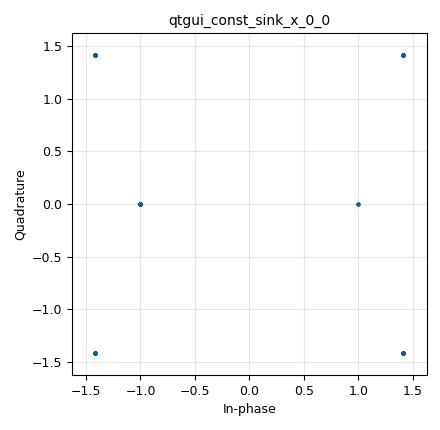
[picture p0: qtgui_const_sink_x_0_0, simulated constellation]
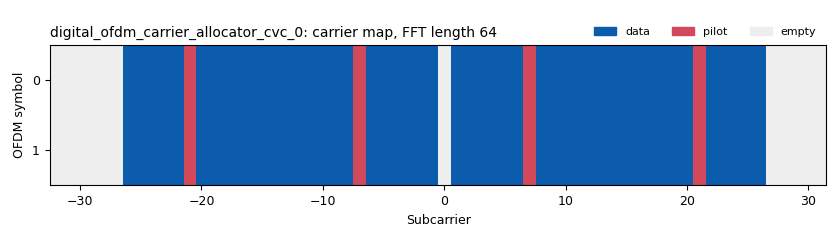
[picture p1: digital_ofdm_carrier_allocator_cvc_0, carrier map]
options:
  parameters:
    author: tianz
    generate_options: qt_gui
    id: myconfig
    output_language: python
    title: myconfig
  states: {}

blocks:
- name: centre_fre
  id: variable
  parameters:
    value: '920000000'
  states: {}
- name: fft_len
  id: variable
  parameters:
    value: '64'
  states: {}
- name: gain
  id: variable
  parameters:
    value: '50'
  states: {}
- name: hdr_format
  id: variable
  parameters:
    value: digital.header_format_ofdm(occupied_carriers, 1, length_tag_key,)
  states: {}
- name: header_equalizer
  id: variable
  parameters:
    value: digital.ofdm_equalizer_simpledfe(fft_len, header_mod.base(), occupied_carriers, pilot_carriers, pilot_symbols)
  states: {}
- name: header_formatter
  id: variable
  parameters:
    value: digital.packet_header_ofdm(occupied_carriers, n_syms=1, len_tag_key=packet_length_tag_key, frame_len_tag_key=length_tag_key1, bits_per_header_sym=header_mod.bits_per_symbol(), bits_per_payload_sym=payload_mod.bits_per_symbol(), scramble_header=False)
  states: {}
- name: header_mod
  id: variable
  parameters:
    value: digital.constellation_bpsk()
  states: {}
- name: length_tag_key
  id: variable
  parameters:
    value: '"packet_len"'
  states: {}
- name: length_tag_key1
  id: variable
  parameters:
    value: '"frame_len"'
  states: {}
- name: occupied_carriers
  id: variable
  parameters:
    value: (list(range(-26, -21)) + list(range(-20, -7)) + list(range(-6, 0)) + list(range(1, 7)) + list(range(8, 21)) + list(range(22, 27)),)
  states: {}
- name: packet_len
  id: variable
  parameters:
    value: '96'
  states: {}
- name: packet_length_tag_key
  id: variable
  parameters:
    value: '"packet_len"'
  states: {}
- name: payload_equalizer
  id: variable
  parameters:
    value: digital.ofdm_equalizer_simpledfe(fft_len, payload_mod.base(), occupied_carriers, pilot_carriers, pilot_symbols, 1)
  states: {}
- name: payload_mod
  id: variable
  parameters:
    value: digital.constellation_qpsk()
  states: {}
- name: pilot_carriers
  id: variable
  parameters:
    value: ((-21, -7, 7, 21,),)
  states: {}
- name: pilot_symbols
  id: variable
  parameters:
    value: ((1, 1, 1, -1,),)
  states: {}
- name: rolloff
  id: variable
  parameters:
    value: '0'
  states: {}
- name: samp_rate
  id: variable
  parameters:
    value: '1000000'
  states: {}
- name: sync_word1
  id: variable
  parameters:
    value: '[0., 0., 0., 0., 0., 0., 0., 1.41421356, 0., -1.41421356, 0., 1.41421356, 0., -1.41421356, 0., -1.41421356, 0., -1.41421356, 0., 1.41421356, 0., -1.41421356, 0., 1.41421356, 0., -1.41421356, 0., -1.41421356, 0., -1.41421356, 0., -1.41421356, 0., 1.41421356, 0., -1.41421356, 0., 1.41421356, 0., 1.41421356, 0., 1.41421356, 0., -1.41421356, 0., 1.41421356, 0., 1.41421356, 0., 1.41421356, 0., -1.41421356, 0., 1.41421356, 0., 1.41421356, 0., 1.41421356, 0., 0., 0., 0., 0., 0.]'
  states: {}
- name: sync_word2
  id: variable
  parameters:
    value: '[0, 0, 0, 0, 0, 0, -1, -1, -1, -1, 1, 1, -1, -1, -1, 1, -1, 1, 1, 1, 1, 1, -1, -1, -1, -1, -1, 1, -1, -1, 1, -1, 0, 1, -1, 1, 1, 1, -1, 1, 1, 1, -1, 1, 1, 1, 1, -1, 1, -1, -1, -1, 1, -1, 1, -1, -1, -1, -1, 0, 0, 0, 0, 0]'
  states: {}
- name: analog_frequency_modulator_fc_0
  id: analog_frequency_modulator_fc
  parameters:
    sensitivity: '-2.0/fft_len'
  states: {}
- name: analog_random_source_x_0
  id: analog_random_source_x
  parameters:
    max: '255'
    min: '0'
    num_samps: '1000'
    repeat: 'True'
    type: byte
  states: {}
- name: blocks_delay_0
  id: blocks_delay
  parameters:
    delay: int(fft_len+fft_len/4)
    type: complex
  states: {}
- name: blocks_multiply_const_vxx_0
  id: blocks_multiply_const_vxx
  parameters:
    const: '0.053'
    type: complex
  states: {}
- name: blocks_multiply_xx_0
  id: blocks_multiply_xx
  parameters:
    type: complex
  states: {}
- name: blocks_repack_bits_bb_0
  id: blocks_repack_bits_bb
  parameters:
    align_output: 'True'
    endianness: gr.GR_LSB_FIRST
    k: payload_mod.bits_per_symbol()
    l: '8'
    len_tag_key: packet_length_tag_key
  states: {}
- name: blocks_repack_bits_bb_0_0
  id: blocks_repack_bits_bb
  parameters:
    endianness: gr.GR_LSB_FIRST
    k: '8'
    l: payload_mod.bits_per_symbol()
    len_tag_key: length_tag_key
  states: {}
- name: blocks_repack_bits_bb_0_0_0
  id: blocks_repack_bits_bb
  parameters:
    endianness: gr.GR_LSB_FIRST
    k: '8'
    l: '1'
    len_tag_key: length_tag_key
  states: {}
- name: blocks_stream_to_tagged_stream_0
  id: blocks_stream_to_tagged_stream
  parameters:
    len_tag_key: length_tag_key
    packet_len: packet_len
    type: byte
  states: {}
- name: blocks_tag_debug_1
  id: blocks_tag_debug
  parameters:
    name: Rx Bytes
    type: byte
  states: {}
- name: blocks_tag_gate_0
  id: blocks_tag_gate
  parameters:
    propagate_tags: 'False'
    type: complex
  states: {}
- name: blocks_tagged_stream_mux_0
  id: blocks_tagged_stream_mux
  parameters:
    lengthtagname: length_tag_key
    ninputs: '2'
    type: complex
  states: {}
- name: blocks_throttle_0
  id: blocks_throttle
  parameters:
    samples_per_second: '10000'
    type: complex
  states: {}
- name: digital_chunks_to_symbols_xx_0
  id: digital_chunks_to_symbols_xx
  parameters:
    dimension: '1'
    in_type: byte
    out_type: complex
    symbol_table: header_mod.points()
  states: {}
- name: digital_chunks_to_symbols_xx_0_0
  id: digital_chunks_to_symbols_xx
  parameters:
    dimension: '1'
    in_type: byte
    out_type: complex
    symbol_table: payload_mod.points()
  states: {}
- name: digital_constellation_decoder_cb_0
  id: digital_constellation_decoder_cb
  parameters:
    constellation: header_mod.base()
  states: {}
- name: digital_constellation_decoder_cb_1
  id: digital_constellation_decoder_cb
  parameters:
    constellation: payload_mod.base()
  states: {}
- name: digital_header_payload_demux_0
  id: digital_header_payload_demux
  parameters:
    guard_interval: int(fft_len/4)
    header_len: '3'
    header_padding: '0'
    items_per_symbol: fft_len
    length_tag_key: length_tag_key1
    output_symbols: 'True'
    samp_rate: samp_rate
    special_tags: ()
    timing_tag_key: '"rx_time"'
    type: complex
  states: {}
- name: digital_ofdm_carrier_allocator_cvc_0
  id: digital_ofdm_carrier_allocator_cvc
  parameters:
    fft_len: fft_len
    len_tag_key: length_tag_key
    occupied_carriers: occupied_carriers
    output_is_shifted: 'True'
    pilot_carriers: pilot_carriers
    pilot_symbols: pilot_symbols
    sync_words: (sync_word1, sync_word2)
  states: {}
- name: digital_ofdm_chanest_vcvc_0
  id: digital_ofdm_chanest_vcvc
  parameters:
    force_one_symbol: 'False'
    max_carr_offset: '3'
    n_data_symbols: '1'
    sync_symbol1: sync_word1
    sync_symbol2: sync_word2
  states: {}
- name: digital_ofdm_cyclic_prefixer_0
  id: digital_ofdm_cyclic_prefixer
  parameters:
    cp_len: int(fft_len/4)
    input_size: fft_len
    rolloff: rolloff
    tagname: length_tag_key
  states: {}
- name: digital_ofdm_frame_equalizer_vcvc_0
  id: digital_ofdm_frame_equalizer_vcvc
  parameters:
    cp_len: int(fft_len/4)
    equalizer: header_equalizer.base()
    fft_len: fft_len
    fixed_frame_len: '1'
    len_tag_key: length_tag_key1
    propagate_channel_state: 'True'
  states: {}
- name: digital_ofdm_frame_equalizer_vcvc_1
  id: digital_ofdm_frame_equalizer_vcvc
  parameters:
    cp_len: int(fft_len/4)
    equalizer: payload_equalizer.base()
    fft_len: fft_len
    len_tag_key: length_tag_key1
    propagate_channel_state: 'True'
  states: {}
- name: digital_ofdm_serializer_vcc_header
  id: digital_ofdm_serializer_vcc
  parameters:
    carr_offset_key: ''
    fft_len: fft_len
    len_tag_key: length_tag_key1
    occupied_carriers: occupied_carriers
    packet_len_tag_key: ''
  states: {}
- name: digital_ofdm_serializer_vcc_payload
  id: digital_ofdm_serializer_vcc
  parameters:
    carr_offset_key: ''
    fft_len: fft_len
    len_tag_key: length_tag_key1
    occupied_carriers: occupied_carriers
    packet_len_tag_key: packet_length_tag_key
    symbols_skipped: '1'
  states: {}
- name: digital_ofdm_sync_sc_cfb_0
  id: digital_ofdm_sync_sc_cfb
  parameters:
    cp_len: int(fft_len/4)
    fft_len: fft_len
    threshold: '0.9'
  states: {}
- name: digital_packet_headerparser_b_0
  id: digital_packet_headerparser_b
  parameters:
    header_formatter: header_formatter.base()
  states: {}
- name: digital_protocol_formatter_bb_0
  id: digital_protocol_formatter_bb
  parameters:
    format: hdr_format
    len_tag_key: length_tag_key
  states: {}
- name: fft_vxx_0
  id: fft_vxx
  parameters:
    fft_size: fft_len
    forward: 'True'
    shift: 'True'
    type: complex
    window: ()
  states: {}
- name: fft_vxx_0_0
  id: fft_vxx
  parameters:
    fft_size: fft_len
    forward: 'False'
    shift: 'True'
    type: complex
    window: ()
  states: {}
- name: fft_vxx_1
  id: fft_vxx
  parameters:
    fft_size: fft_len
    forward: 'True'
    shift: 'True'
    type: complex
    window: ()
  states: {}
- name: qtgui_const_sink_x_0_0
  id: qtgui_const_sink_x
  parameters:
    autoscale: 'True'
    size: '1024'
    type: complex
    xmax: '1.5'
    xmin: '-1.5'
    ymax: '1.5'
    ymin: '-1.5'
  states: {}
- name: qtgui_const_sink_x_0_0_0_2
  id: qtgui_const_sink_x
  parameters:
    autoscale: 'True'
    size: '256'
    type: complex
    xmax: '1.5'
    xmin: '-1.5'
    ymax: '1.5'
    ymin: '-1.5'
  states: {}
- name: qtgui_const_sink_x_0_0_0_2_1_0
  id: qtgui_const_sink_x
  parameters:
    autoscale: 'True'
    size: '256'
    type: complex
    xmax: '1.5'
    xmin: '-1.5'
    ymax: '1.5'
    ymin: '-1.5'
  states: {}
- name: qtgui_time_sink_x_0_1
  id: qtgui_time_sink_x
  parameters:
    autoscale: 'True'
    label1: Scope Plot
    label2: ''
    name: Payload Scope Plot
    size: '1024'
    srate: samp_rate
    type: complex
  states: {}
- name: qtgui_time_sink_x_0_1_0
  id: qtgui_time_sink_x
  parameters:
    autoscale: 'True'
    label1: Scope Plot
    label2: ''
    name: Header Scope Plot
    size: '1024'
    srate: samp_rate
    type: complex
  states: {}
- name: uhd_usrp_sink_0_0
  id: uhd_usrp_sink
  parameters:
    ant0: '"TX/RX"'
    center_freq0: centre_fre
    clock_rate: '0.0'
    dev_addr: '"serial=31DB555"'
    dev_args: '""'
    gain0: gain
    len_tag_name: ''
    samp_rate: samp_rate
    sync: sync
    type: fc32
  states: {}
- name: uhd_usrp_source_0
  id: uhd_usrp_source
  parameters:
    ant0: '"TX/RX"'
    center_freq0: centre_fre
    clock_rate: '0.0'
    dc_offs_enb0: disabled
    dev_addr: '"serial=31D4A23"'
    dev_args: '""'
    gain0: gain
    iq_imbal_enb0: disabled
    samp_rate: samp_rate
    sync: none
    type: fc32
  states: {}
- name: virtual_sink_1
  id: virtual_sink
  parameters:
    stream_id: Payload Stream1
  states: {}
- name: virtual_source_1
  id: virtual_source
  parameters:
    stream_id: Payload Stream1
  states: {}

connections:
- [analog_frequency_modulator_fc_0, '0', blocks_multiply_xx_0, '0']
- [analog_random_source_x_0, '0', blocks_stream_to_tagged_stream_0, '0']
- [blocks_delay_0, '0', blocks_multiply_xx_0, '1']
- [blocks_multiply_const_vxx_0, '0', blocks_tag_gate_0, '0']
- [blocks_multiply_xx_0, '0', digital_header_payload_demux_0, '0']
- [blocks_repack_bits_bb_0, '0', blocks_tag_debug_1, '0']
- [blocks_repack_bits_bb_0_0, '0', digital_chunks_to_symbols_xx_0_0, '0']
- [blocks_repack_bits_bb_0_0_0, '0', digital_chunks_to_symbols_xx_0, '0']
- [blocks_stream_to_tagged_stream_0, '0', blocks_repack_bits_bb_0_0, '0']
- [blocks_stream_to_tagged_stream_0, '0', digital_protocol_formatter_bb_0, '0']
- [blocks_tag_gate_0, '0', uhd_usrp_sink_0_0, '0']
- [blocks_tagged_stream_mux_0, '0', digital_ofdm_carrier_allocator_cvc_0, '0']
- [blocks_tagged_stream_mux_0, '0', qtgui_const_sink_x_0_0, '0']
- [blocks_throttle_0, '0', blocks_delay_0, '0']
- [blocks_throttle_0, '0', digital_ofdm_sync_sc_cfb_0, '0']
- [digital_chunks_to_symbols_xx_0, '0', blocks_tagged_stream_mux_0, '0']
- [digital_chunks_to_symbols_xx_0_0, '0', blocks_tagged_stream_mux_0, '1']
- [digital_constellation_decoder_cb_0, '0', digital_packet_headerparser_b_0, '0']
- [digital_constellation_decoder_cb_1, '0', blocks_repack_bits_bb_0, '0']
- [digital_header_payload_demux_0, '0', fft_vxx_0, '0']
- [digital_header_payload_demux_0, '1', virtual_sink_1, '0']
- [digital_ofdm_carrier_allocator_cvc_0, '0', fft_vxx_0_0, '0']
- [digital_ofdm_chanest_vcvc_0, '0', digital_ofdm_frame_equalizer_vcvc_0, '0']
- [digital_ofdm_cyclic_prefixer_0, '0', blocks_multiply_const_vxx_0, '0']
- [digital_ofdm_frame_equalizer_vcvc_0, '0', digital_ofdm_serializer_vcc_header, '0']
- [digital_ofdm_frame_equalizer_vcvc_1, '0', digital_ofdm_serializer_vcc_payload, '0']
- [digital_ofdm_serializer_vcc_header, '0', digital_constellation_decoder_cb_0, '0']
- [digital_ofdm_serializer_vcc_header, '0', qtgui_const_sink_x_0_0_0_2_1_0, '0']
- [digital_ofdm_serializer_vcc_header, '0', qtgui_time_sink_x_0_1_0, '0']
- [digital_ofdm_serializer_vcc_payload, '0', digital_constellation_decoder_cb_1, '0']
- [digital_ofdm_serializer_vcc_payload, '0', qtgui_const_sink_x_0_0_0_2, '0']
- [digital_ofdm_serializer_vcc_payload, '0', qtgui_time_sink_x_0_1, '0']
- [digital_ofdm_sync_sc_cfb_0, '0', analog_frequency_modulator_fc_0, '0']
- [digital_ofdm_sync_sc_cfb_0, '1', digital_header_payload_demux_0, '1']
- [digital_packet_headerparser_b_0, header_data, digital_header_payload_demux_0, header_data]
- [digital_protocol_formatter_bb_0, '0', blocks_repack_bits_bb_0_0_0, '0']
- [fft_vxx_0, '0', digital_ofdm_chanest_vcvc_0, '0']
- [fft_vxx_0_0, '0', digital_ofdm_cyclic_prefixer_0, '0']
- [fft_vxx_1, '0', digital_ofdm_frame_equalizer_vcvc_1, '0']
- [uhd_usrp_source_0, '0', blocks_throttle_0, '0']
- [virtual_source_1, '0', fft_vxx_1, '0']

metadata:
  file_format: 1
  grc_version: 3.10.12.0
